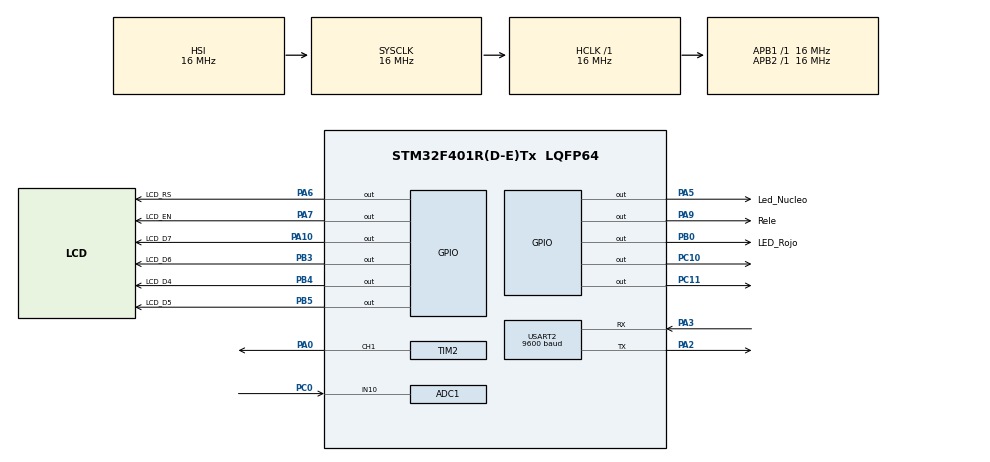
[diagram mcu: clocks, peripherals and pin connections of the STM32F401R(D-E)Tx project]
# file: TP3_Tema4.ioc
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ADC1.Channel-0\#ChannelRegularConversion=ADC_CHANNEL_10
ADC1.ExternalTrigConv=ADC_EXTERNALTRIGCONV_T2_TRGO
ADC1.NbrOfConversionFlag=1
ADC1.Rank-0\#ChannelRegularConversion=1
ADC1.SamplingTime-0\#ChannelRegularConversion=ADC_SAMPLETIME_480CYCLES
ADC1.master=1
Dma.Request0=USART2_TX
Dma.USART2_TX.0.Direction=DMA_MEMORY_TO_PERIPH
Dma.USART2_TX.0.FIFOMode=DMA_FIFOMODE_DISABLE
Dma.USART2_TX.0.Instance=DMA1_Stream6
Dma.USART2_TX.0.MemDataAlignment=DMA_MDATAALIGN_BYTE
Dma.USART2_TX.0.MemInc=DMA_MINC_ENABLE
Dma.USART2_TX.0.Mode=DMA_NORMAL
Dma.USART2_TX.0.PeriphDataAlignment=DMA_PDATAALIGN_BYTE
Dma.USART2_TX.0.PeriphInc=DMA_PINC_DISABLE
Dma.USART2_TX.0.Priority=DMA_PRIORITY_LOW
Mcu.Family=STM32F4
Mcu.Name=STM32F401R(D-E)Tx
Mcu.Package=LQFP64
NVIC.ADC_IRQn=true\:5\:0\:true\:false\:true\:true\:true
NVIC.DMA1_Stream6_IRQn=true\:5\:0\:true\:false\:true\:false\:true
NVIC.PriorityGroup=NVIC_PRIORITYGROUP_4
NVIC.TIM1_UP_TIM10_IRQn=true\:0\:0\:false\:false\:true\:false\:true
NVIC.TimeBase=TIM1_UP_TIM10_IRQn
NVIC.TimeBaseIP=TIM1
NVIC.USART2_IRQn=true\:5\:0\:true\:false\:true\:true\:true
PA0-WKUP.Signal=S_TIM2_CH1_ETR
PA10.GPIO_Label=LCD_D7
PA10.Signal=GPIO_Output
PA13.Mode=Serial_Wire
PA13.Signal=SYS_JTMS-SWDIO
PA14.Mode=Serial_Wire
PA14.Signal=SYS_JTCK-SWCLK
PA2.Mode=Asynchronous
PA2.Signal=USART2_TX
PA3.Mode=Asynchronous
PA3.Signal=USART2_RX
PA5.GPIO_Label=Led_Nucleo
PA5.Signal=GPIO_Output
PA6.GPIO_Label=LCD_RS
PA6.Signal=GPIO_Output
PA7.GPIO_Label=LCD_EN
PA7.Signal=GPIO_Output
PA9.GPIO_Label=Rele
PA9.Signal=GPIO_Output
PB0.GPIO_Label=LED_Rojo
PB0.Signal=GPIO_Output
PB3.GPIO_Label=LCD_D6
PB3.Signal=GPIO_Output
PB4.GPIO_Label=LCD_D4
PB4.Signal=GPIO_Output
PB5.GPIO_Label=LCD_D5
PB5.Signal=GPIO_Output
PC0.Signal=ADCx_IN10
PC10.Signal=GPIO_Output
PC11.PinState=GPIO_PIN_SET
PC11.Signal=GPIO_Output
ProjectManager.HeapSize=0x200
ProjectManager.StackSize=0x400
ProjectManager.TargetToolchain=STM32CubeIDE
RCC.AHBFreq_Value=16000000
RCC.APB1Freq_Value=16000000
RCC.APB2Freq_Value=16000000
RCC.CortexFreq_Value=16000000
RCC.HSE_VALUE=25000000
RCC.HSI_VALUE=16000000
RCC.LSE_VALUE=32768
RCC.SYSCLKFreq_VALUE=16000000
RCC.VCOOutputFreq_Value=192000000
SH.ADCx_IN10.0=ADC1_IN10,IN10
SH.S_TIM2_CH1_ETR.0=TIM2_CH1,Output Compare1 CH1
TIM2.Channel-Output\ Compare1\ CH1=TIM_CHANNEL_1
TIM2.OCMode_1=TIM_OCMODE_TOGGLE
TIM2.Period=640000-1
TIM2.TIM_MasterOutputTrigger=TIM_TRGO_UPDATE
USART2.BaudRate=9600
USART2.VirtualMode=VM_ASYNC
VP_SYS_VS_tim1.Mode=TIM1
VP_TIM2_VS_ClockSourceINT.Mode=Internal
board=custom

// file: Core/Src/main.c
/* USER CODE BEGIN Header */
/**
  ******************************************************************************
  * @file           : main.c
  * @brief          : Main program body
  ******************************************************************************
  * @attention
  *
  * <h2><center>&copy; Copyright (c) 2021 STMicroelectronics.
  * All rights reserved.</center></h2>
  *
  * This software component is licensed by ST under BSD 3-Clause license,
  * the "License"; You may not use this file except in compliance with the
  * License. You may obtain a copy of the License at:
  *                        opensource.org/licenses/BSD-3-Clause
  *
  ******************************************************************************
  */
/* USER CODE END Header */
#include "main.h"

/* USER CODE BEGIN Includes */
#include "FreeRTOS.h"
#include "task.h"
#include "task_app.h"
#include "semphr.h"
#include "HD44780.h"
/* USER CODE END Includes */

ADC_HandleTypeDef hadc1;

TIM_HandleTypeDef htim2;

UART_HandleTypeDef huart2;
DMA_HandleTypeDef hdma_usart2_tx;

/* USER CODE BEGIN PV */
SemaphoreHandle_t xSemAlarm,xDmaTC_Tx;

TaskHandle_t TaskAdcTaskhandler;
TaskHandle_t TaskSendTaskhandler;
TaskHandle_t TaskAlarmTaskhandler;

xQueueHandle xQueueADC,xQueueRx,xQueueTx,xQueueCFG,xQueueCFGT;

HD44780 lcd = {
	   .rs_gpio = GPIOA,
	  // .rw_gpio = LCD_RW_GPIO_Port,
	   .en_gpio = GPIOA,
	   .d4_gpio = GPIOB,
	   .d5_gpio = GPIOB,
	   .d6_gpio = GPIOB,
	   .d7_gpio = GPIOA,
	   .rs_pin = LCD_RS_Pin,
	   //.rw_pin = LCD_RW_Pin,
	   .en_pin = LCD_EN_Pin,
	   .d4_pin = LCD_D4_Pin,
	   .d5_pin = LCD_D5_Pin,
	   .d6_pin = LCD_D6_Pin,
	   .d7_pin = LCD_D7_Pin,
};
/* USER CODE END PV */

void SystemClock_Config(void);
static void MX_GPIO_Init(void);
static void MX_ADC1_Init(void);
static void MX_DMA_Init(void);
static void MX_USART2_UART_Init(void);
static void MX_TIM2_Init(void);

/* USER CODE BEGIN 0 */
extern void initialise_monitor_handles(void);
/* USER CODE END 0 */

int main(void)
{

  /* MCU Configuration--------------------------------------------------------*/

  /* Reset of all peripherals, Initializes the Flash interface and the Systick. */
  HAL_Init();

  /* Configure the system clock */
  SystemClock_Config();

  /* USER CODE BEGIN SysInit */
  //taskDISABLE_INTERRUPTS();
  /* USER CODE END SysInit */

  /* Initialize all configured peripherals */
  MX_GPIO_Init();
  MX_ADC1_Init();
  MX_DMA_Init();
  MX_USART2_UART_Init();
  MX_TIM2_Init();
  /* USER CODE BEGIN 2 */
  initialise_monitor_handles();

  HD44780_init(&lcd);
  HD44780_put_str(&lcd, "Vmax = ");
  HD44780_cursor_to(&lcd, 0, 1);
  HD44780_put_str(&lcd, "Tiempo = ");

  xQueueADC = xQueueCreate( 1, sizeof(uint16_t));
  xQueueRx  = xQueueCreate( 1, sizeof(uint8_t));
  xQueueTx  = xQueueCreate( 1, sizeof(uint16_t));
  xQueueCFG = xQueueCreate( 1, sizeof(uint16_t));
  xQueueCFGT = xQueueCreate( 1, sizeof(uint16_t));
  xSemAlarm = xSemaphoreCreateBinary();
  xDmaTC_Tx = xSemaphoreCreateBinary();

  xTaskCreate(		xAdcTask,		/* Pointer to the function that implements the task. */
						"Adc",	/* Text name for the task.  This is to facilitate debugging only. */
						240,		/* Stack depth in words. */
						NULL,		/* We are  not using the task parameter. */
						2,			/* This task will run at priority 2. */
						&TaskAdcTaskhandler );		/* We are not using the task handle. */
  xTaskCreate(		xAlarmTask,		/* Pointer to the function that implements the task. */
						"Alarm",	/* Text name for the task.  This is to facilitate debugging only. */
						240,		/* Stack depth in words. */
						NULL,		/* We are  not using the task parameter. */
						3,			/* This task will run at priority 3. */
						&TaskAlarmTaskhandler );		/* We are not using the task handle. */
  xTaskCreate(		xReceiveTask,		/* Pointer to the function that implements the task. */
						"Receive",	/* Text name for the task.  This is to facilitate debugging only. */
						240,		/* Stack depth in words. */
						NULL,		/* We are  not using the task parameter. */
						2,			/* This task will run at priority 2. */
						NULL );		/* We are not using the task handle. */
  xTaskCreate(		xSendTask,		/* Pointer to the function that implements the task. */
						"Send",	/* Text name for the task.  This is to facilitate debugging only. */
						240,		/* Stack depth in words. */
						NULL,		/* We are  not using the task parameter. */
						1,			/* This task will run at priority 1. */
						NULL );		/* We are not using the task handle. */

	/* Start the scheduler so our tasks start executing. */
	vTaskStartScheduler();

  /* USER CODE END 2 */

  /* Infinite loop */
  while (1)
  {

  }
}

void SystemClock_Config(void)
{
  RCC_OscInitTypeDef RCC_OscInitStruct = {0};
  RCC_ClkInitTypeDef RCC_ClkInitStruct = {0};

  /** Configure the main internal regulator output voltage
  */
  __HAL_RCC_PWR_CLK_ENABLE();
  __HAL_PWR_VOLTAGESCALING_CONFIG(PWR_REGULATOR_VOLTAGE_SCALE2);
  /** Initializes the RCC Oscillators according to the specified parameters
  * in the RCC_OscInitTypeDef structure.
  */
  RCC_OscInitStruct.OscillatorType = RCC_OSCILLATORTYPE_HSI;
  RCC_OscInitStruct.HSIState = RCC_HSI_ON;
  RCC_OscInitStruct.HSICalibrationValue = RCC_HSICALIBRATION_DEFAULT;
  RCC_OscInitStruct.PLL.PLLState = RCC_PLL_NONE;
  if (HAL_RCC_OscConfig(&RCC_OscInitStruct) != HAL_OK)
  {
    Error_Handler();
  }
  /** Initializes the CPU, AHB and APB buses clocks
  */
  RCC_ClkInitStruct.ClockType = RCC_CLOCKTYPE_HCLK|RCC_CLOCKTYPE_SYSCLK
                              |RCC_CLOCKTYPE_PCLK1|RCC_CLOCKTYPE_PCLK2;
  RCC_ClkInitStruct.SYSCLKSource = RCC_SYSCLKSOURCE_HSI;
  RCC_ClkInitStruct.AHBCLKDivider = RCC_SYSCLK_DIV1;
  RCC_ClkInitStruct.APB1CLKDivider = RCC_HCLK_DIV1;
  RCC_ClkInitStruct.APB2CLKDivider = RCC_HCLK_DIV1;

  if (HAL_RCC_ClockConfig(&RCC_ClkInitStruct, FLASH_LATENCY_0) != HAL_OK)
  {
    Error_Handler();
  }
}

static void MX_ADC1_Init(void)
{

  ADC_ChannelConfTypeDef sConfig = {0};

  /** Configure the global features of the ADC (Clock, Resolution, Data Alignment and number of conversion)
  */
  hadc1.Instance = ADC1;
  hadc1.Init.ClockPrescaler = ADC_CLOCK_SYNC_PCLK_DIV2;
  hadc1.Init.Resolution = ADC_RESOLUTION_12B;
  hadc1.Init.ScanConvMode = DISABLE;
  hadc1.Init.ContinuousConvMode = DISABLE;
  hadc1.Init.DiscontinuousConvMode = DISABLE;
  hadc1.Init.ExternalTrigConvEdge = ADC_EXTERNALTRIGCONVEDGE_RISING;
  hadc1.Init.ExternalTrigConv = ADC_EXTERNALTRIGCONV_T2_TRGO;
  hadc1.Init.DataAlign = ADC_DATAALIGN_RIGHT;
  hadc1.Init.NbrOfConversion = 1;
  hadc1.Init.DMAContinuousRequests = DISABLE;
  hadc1.Init.EOCSelection = ADC_EOC_SINGLE_CONV;
  if (HAL_ADC_Init(&hadc1) != HAL_OK)
  {
    Error_Handler();
  }
  /** Configure for the selected ADC regular channel its corresponding rank in the sequencer and its sample time.
  */
  sConfig.Channel = ADC_CHANNEL_10;
  sConfig.Rank = 1;
  sConfig.SamplingTime = ADC_SAMPLETIME_480CYCLES;
  if (HAL_ADC_ConfigChannel(&hadc1, &sConfig) != HAL_OK)
  {
    Error_Handler();
  }

}

static void MX_TIM2_Init(void)
{

  TIM_ClockConfigTypeDef sClockSourceConfig = {0};
  TIM_MasterConfigTypeDef sMasterConfig = {0};
  TIM_OC_InitTypeDef sConfigOC = {0};

  htim2.Instance = TIM2;
  htim2.Init.Prescaler = 0;
  htim2.Init.CounterMode = TIM_COUNTERMODE_UP;
  htim2.Init.Period = 640000-1;
  htim2.Init.ClockDivision = TIM_CLOCKDIVISION_DIV1;
  htim2.Init.AutoReloadPreload = TIM_AUTORELOAD_PRELOAD_DISABLE;
  if (HAL_TIM_Base_Init(&htim2) != HAL_OK)
  {
    Error_Handler();
  }
  sClockSourceConfig.ClockSource = TIM_CLOCKSOURCE_INTERNAL;
  if (HAL_TIM_ConfigClockSource(&htim2, &sClockSourceConfig) != HAL_OK)
  {
    Error_Handler();
  }
  if (HAL_TIM_OC_Init(&htim2) != HAL_OK)
  {
    Error_Handler();
  }
  sMasterConfig.MasterOutputTrigger = TIM_TRGO_UPDATE;
  sMasterConfig.MasterSlaveMode = TIM_MASTERSLAVEMODE_DISABLE;
  if (HAL_TIMEx_MasterConfigSynchronization(&htim2, &sMasterConfig) != HAL_OK)
  {
    Error_Handler();
  }
  sConfigOC.OCMode = TIM_OCMODE_TOGGLE;
  sConfigOC.Pulse = 0;
  sConfigOC.OCPolarity = TIM_OCPOLARITY_HIGH;
  sConfigOC.OCFastMode = TIM_OCFAST_DISABLE;
  if (HAL_TIM_OC_ConfigChannel(&htim2, &sConfigOC, TIM_CHANNEL_1) != HAL_OK)
  {
    Error_Handler();
  }
  HAL_TIM_MspPostInit(&htim2);

}

static void MX_USART2_UART_Init(void)
{

  huart2.Instance = USART2;
  huart2.Init.BaudRate = 9600;
  huart2.Init.WordLength = UART_WORDLENGTH_8B;
  huart2.Init.StopBits = UART_STOPBITS_1;
  huart2.Init.Parity = UART_PARITY_NONE;
  huart2.Init.Mode = UART_MODE_TX_RX;
  huart2.Init.HwFlowCtl = UART_HWCONTROL_NONE;
  huart2.Init.OverSampling = UART_OVERSAMPLING_16;
  if (HAL_UART_Init(&huart2) != HAL_OK)
  {
    Error_Handler();
  }

}

static void MX_DMA_Init(void)
{

  /* DMA controller clock enable */
  __HAL_RCC_DMA1_CLK_ENABLE();

  /* DMA interrupt init */
  /* DMA1_Stream6_IRQn interrupt configuration */
  HAL_NVIC_SetPriority(DMA1_Stream6_IRQn, 5, 0);
  HAL_NVIC_EnableIRQ(DMA1_Stream6_IRQn);

}

static void MX_GPIO_Init(void)
{
  GPIO_InitTypeDef GPIO_InitStruct = {0};

  /* GPIO Ports Clock Enable */
  __HAL_RCC_GPIOC_CLK_ENABLE();
  __HAL_RCC_GPIOA_CLK_ENABLE();
  __HAL_RCC_GPIOB_CLK_ENABLE();

  /*Configure GPIO pin Output Level */
  HAL_GPIO_WritePin(GPIOA, Led_Nucleo_Pin|LCD_RS_Pin|LCD_EN_Pin|Rele_Pin
                          |LCD_D7_Pin, GPIO_PIN_RESET);

  /*Configure GPIO pin Output Level */
  HAL_GPIO_WritePin(GPIOB, LED_Rojo_Pin|LCD_D6_Pin|LCD_D4_Pin|LCD_D5_Pin, GPIO_PIN_RESET);

  /*Configure GPIO pin Output Level */
  HAL_GPIO_WritePin(GPIOC, GPIO_PIN_10, GPIO_PIN_RESET);

  /*Configure GPIO pin Output Level */
  HAL_GPIO_WritePin(GPIOC, GPIO_PIN_11, GPIO_PIN_SET);

  /*Configure GPIO pins : Led_Nucleo_Pin LCD_RS_Pin LCD_EN_Pin Rele_Pin
                           LCD_D7_Pin */
  GPIO_InitStruct.Pin = Led_Nucleo_Pin|LCD_RS_Pin|LCD_EN_Pin|Rele_Pin
                          |LCD_D7_Pin;
  GPIO_InitStruct.Mode = GPIO_MODE_OUTPUT_PP;
  GPIO_InitStruct.Pull = GPIO_NOPULL;
  GPIO_InitStruct.Speed = GPIO_SPEED_FREQ_LOW;
  HAL_GPIO_Init(GPIOA, &GPIO_InitStruct);

  /*Configure GPIO pins : LED_Rojo_Pin LCD_D6_Pin LCD_D4_Pin LCD_D5_Pin */
  GPIO_InitStruct.Pin = LED_Rojo_Pin|LCD_D6_Pin|LCD_D4_Pin|LCD_D5_Pin;
  GPIO_InitStruct.Mode = GPIO_MODE_OUTPUT_PP;
  GPIO_InitStruct.Pull = GPIO_NOPULL;
  GPIO_InitStruct.Speed = GPIO_SPEED_FREQ_LOW;
  HAL_GPIO_Init(GPIOB, &GPIO_InitStruct);

  /*Configure GPIO pins : PC10 PC11 */
  GPIO_InitStruct.Pin = GPIO_PIN_10|GPIO_PIN_11;
  GPIO_InitStruct.Mode = GPIO_MODE_OUTPUT_PP;
  GPIO_InitStruct.Pull = GPIO_NOPULL;
  GPIO_InitStruct.Speed = GPIO_SPEED_FREQ_LOW;
  HAL_GPIO_Init(GPIOC, &GPIO_InitStruct);

}

void HAL_TIM_PeriodElapsedCallback(TIM_HandleTypeDef *htim)
{
  if (htim->Instance == TIM1) {
    HAL_IncTick();
  }
}

void Error_Handler(void)
{
  __disable_irq();
  while (1)
  {
  }
}

/************************ (C) COPYRIGHT STMicroelectronics *****END OF FILE****/
